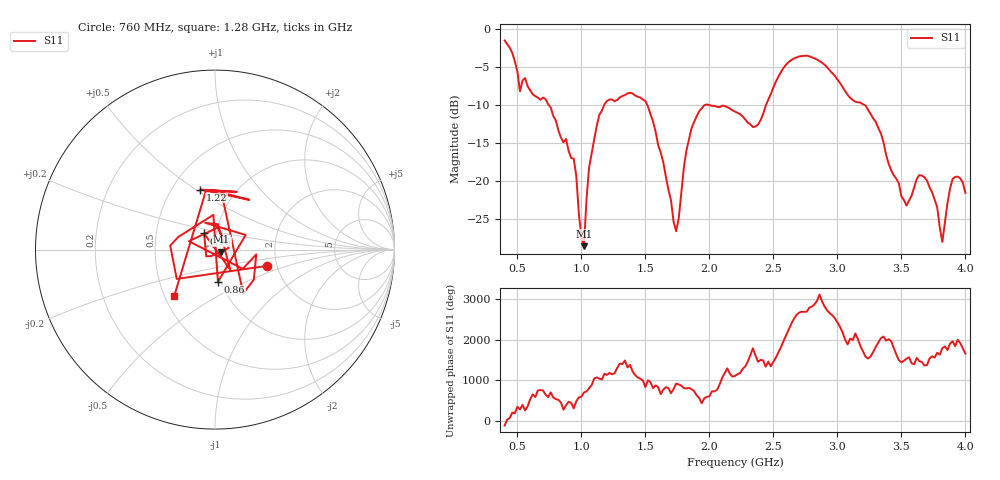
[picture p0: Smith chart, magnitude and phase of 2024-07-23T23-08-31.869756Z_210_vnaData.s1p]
!Created with skrf (http://scikit-rf.org).
# Hz S RI R 50.0
!freq ReS11 ImS11
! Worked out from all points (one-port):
!   181 points, 400 MHz to 4 GHz, reference 50 ohm
!   lowest |S11| = -28.5 dB at 1.02 GHz (marker M1), VSWR 1.08, Z = 53.7 - j1.33 ohm
!   |S11| at or under -10 dB: 1.515 GHz to 1.964 GHz (449.2 MHz wide, 25.8 % of centre); 2.002 GHz to 2.442 GHz (440.7 MHz wide, 19.8 % of centre); 3.214 GHz to end of sweep (the widest 3 of 4)
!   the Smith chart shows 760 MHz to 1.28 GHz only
!   S11 on the Smith chart (normalised r, x): 760 MHz: 1.78, -0.35; 860 MHz: 0.97, -0.36; 960 MHz: 0.87, +0.16; 1.22 GHz: 0.69, +0.52; 1.28 GHz: 0.56, -0.33
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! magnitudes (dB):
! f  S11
! 400 MHz  -1.5
! 520 MHz  -8.2
! 560 MHz  -6.4
! 760 MHz  -10.3
! 860 MHz  -14.9
! 960 MHz  -19.3
! 1.02 GHz  -28.5
! 1.06 GHz  -18.2
! 1.14 GHz  -11.3
! 1.22 GHz  -9.3
! 1.28 GHz  -9.3
! 1.3 GHz  -9.0
! 1.5 GHz  -9.5
! 1.74 GHz  -26.5
! 1.76 GHz  -24.9
! 1.82 GHz  -16.0
! 1.92 GHz  -10.8
! 2.2 GHz  -10.8
! 2.38 GHz  -12.5
! 2.66 GHz  -3.9
! 3.1 GHz  -9.0
! 3.3 GHz  -12.2
! 3.56 GHz  -22.5
! 3.68 GHz  -19.5
! 3.78 GHz  -23.4
! 3.82 GHz  -28.0
! 3.9 GHz  -19.7
! 4 GHz  -21.5
